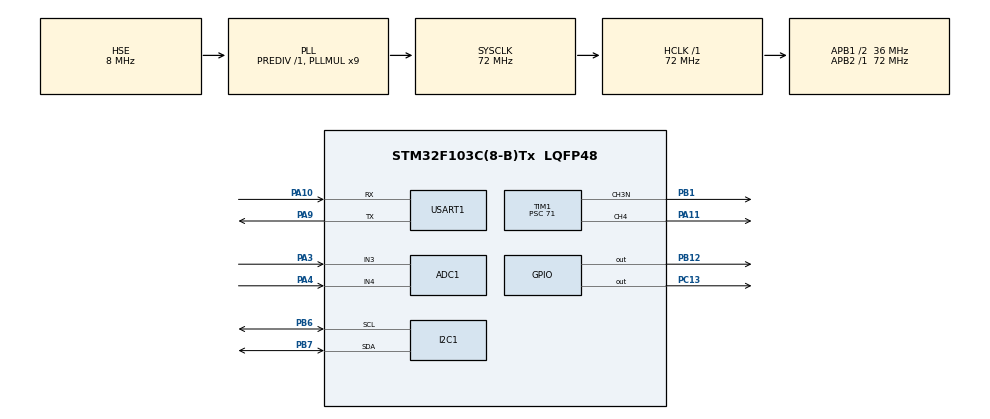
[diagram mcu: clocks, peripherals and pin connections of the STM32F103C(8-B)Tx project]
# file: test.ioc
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ADC1.Channel-0\#ChannelRegularConversion=ADC_CHANNEL_3
ADC1.Channel-1\#ChannelRegularConversion=ADC_CHANNEL_4
ADC1.NbrOfConversion=2
ADC1.NbrOfConversionFlag=1
ADC1.Rank-0\#ChannelRegularConversion=1
ADC1.Rank-1\#ChannelRegularConversion=2
ADC1.SamplingTime-0\#ChannelRegularConversion=ADC_SAMPLETIME_71CYCLES_5
ADC1.SamplingTime-1\#ChannelRegularConversion=ADC_SAMPLETIME_71CYCLES_5
ADC1.master=1
Dma.ADC1.0.Direction=DMA_PERIPH_TO_MEMORY
Dma.ADC1.0.Instance=DMA1_Channel1
Dma.ADC1.0.MemDataAlignment=DMA_MDATAALIGN_HALFWORD
Dma.ADC1.0.MemInc=DMA_MINC_ENABLE
Dma.ADC1.0.Mode=DMA_CIRCULAR
Dma.ADC1.0.PeriphDataAlignment=DMA_PDATAALIGN_HALFWORD
Dma.ADC1.0.PeriphInc=DMA_PINC_DISABLE
Dma.ADC1.0.Priority=DMA_PRIORITY_LOW
Dma.Request0=ADC1
Mcu.Family=STM32F1
Mcu.Name=STM32F103C(8-B)Tx
Mcu.Package=LQFP48
NVIC.DMA1_Channel1_IRQn=true\:0\:0\:false\:false\:true\:false\:true\:true
NVIC.PriorityGroup=NVIC_PRIORITYGROUP_4
PA10.Mode=Asynchronous
PA10.Signal=USART1_RX
PA11.Signal=S_TIM1_CH4
PA13.Mode=Serial_Wire
PA13.Signal=SYS_JTMS-SWDIO
PA14.Mode=Serial_Wire
PA14.Signal=SYS_JTCK-SWCLK
PA3.Signal=ADCx_IN3
PA4.Signal=ADCx_IN4
PA9.Mode=Asynchronous
PA9.Signal=USART1_TX
PB1.Mode=PWM Generation3 CH3N
PB1.Signal=TIM1_CH3N
PB12.Signal=GPIO_Output
PB6.Mode=I2C
PB6.Signal=I2C1_SCL
PB7.Mode=I2C
PB7.Signal=I2C1_SDA
PC13-TAMPER-RTC.Signal=GPIO_Output
PD0-OSC_IN.Mode=HSE-External-Oscillator
PD0-OSC_IN.Signal=RCC_OSC_IN
PD1-OSC_OUT.Mode=HSE-External-Oscillator
PD1-OSC_OUT.Signal=RCC_OSC_OUT
ProjectManager.HeapSize=0x200
ProjectManager.StackSize=0x400
ProjectManager.TargetToolchain=MDK-ARM V5.32
RCC.ADCPresc=RCC_ADCPCLK2_DIV6
RCC.AHBFreq_Value=72000000
RCC.APB1CLKDivider=RCC_HCLK_DIV2
RCC.APB1Freq_Value=36000000
RCC.APB1TimFreq_Value=72000000
RCC.APB2Freq_Value=72000000
RCC.APB2TimFreq_Value=72000000
RCC.HCLKFreq_Value=72000000
RCC.PLLMUL=RCC_PLL_MUL9
RCC.PLLSourceVirtual=RCC_PLLSOURCE_HSE
RCC.SYSCLKFreq_VALUE=72000000
RCC.SYSCLKSource=RCC_SYSCLKSOURCE_PLLCLK
RCC.USBFreq_Value=72000000
SH.ADCx_IN3.0=ADC1_IN3,IN3
SH.ADCx_IN4.0=ADC1_IN4,IN4
SH.S_TIM1_CH4.0=TIM1_CH4,PWM Generation4 CH4
TIM1.Channel-PWM\ Generation3\ CH3N=TIM_CHANNEL_3
TIM1.Channel-PWM\ Generation4\ CH4=TIM_CHANNEL_4
TIM1.Prescaler=71
USART1.VirtualMode=VM_ASYNC
VP_TIM1_VS_ClockSourceINT.Mode=Internal
board=custom

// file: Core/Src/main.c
/* USER CODE BEGIN Header */
/**
  ******************************************************************************
  * @file           : main.c
  * @brief          : Main program body
  ******************************************************************************
  * @attention
  *
  * Copyright (c) 2023 STMicroelectronics.
  * All rights reserved.
  *
  * This software is licensed under terms that can be found in the LICENSE file
  * in the root directory of this software component.
  * If no LICENSE file comes with this software, it is provided AS-IS.
  *
  ******************************************************************************
  */
/* USER CODE END Header */
#include "main.h"

/* USER CODE BEGIN Includes */
//#include "I2C_Configure.h"
#include "LiquidCrystal_I2C.h"
#include <stdio.h>
#include "dht.h"
#include "UART_Configure.h"
/* USER CODE END Includes */

/* USER CODE BEGIN PTD */
int __io_putchar(int ch) {
    UART_SendData((char*)&ch);
    return ch;
}

uint16_t ADC_value[2];
DHT dht;
uint8_t count;
/* USER CODE END PTD */

/* USER CODE BEGIN PD */
void LCD_Display(void);
void ADC_ReadAndControlPWM(void);
/* USER CODE END PD */

ADC_HandleTypeDef hadc1;
DMA_HandleTypeDef hdma_adc1;

I2C_HandleTypeDef hi2c1;

TIM_HandleTypeDef htim1;

UART_HandleTypeDef huart1;

/* USER CODE BEGIN PV */

LiquidCrystal_I2C lcd;
/* USER CODE END PV */

void SystemClock_Config(void);
static void MX_GPIO_Init(void);
static void MX_DMA_Init(void);
static void MX_ADC1_Init(void);
static void MX_TIM1_Init(void);
static void MX_USART1_UART_Init(void);
static void MX_I2C1_Init(void);

int main(void)
{

  /* MCU Configuration--------------------------------------------------------*/

  /* Reset of all peripherals, Initializes the Flash interface and the Systick. */
  HAL_Init();

  /* Configure the system clock */
  SystemClock_Config();

  /* Initialize all configured peripherals */
  MX_GPIO_Init();
  MX_DMA_Init();
  MX_ADC1_Init();
  MX_TIM1_Init();
  MX_USART1_UART_Init();
  MX_I2C1_Init();
  /* USER CODE BEGIN 2 */
  TIM2_Configure(71, 0xFFFF);
  HAL_TIM_PWM_Start(&htim2, TIM_CHANNEL_2);
  HAL_TIM_PWM_Start(&htim2, TIM_CHANNEL_3);
  lcd_init(&lcd, LCD_ADDR_DEFAULT);
  RCC->APB2ENR |= (1 << 2);
  DHT_Init(&dht, GPIOA, 8);
  HAL_ADC_Start_DMA(&hadc1, (uint32_t*)ADC_value, 2);
  /* USER CODE END 2 */

  /* Infinite loop */
  while (1)
  {

    /* USER CODE BEGIN 3 */
	  DHT22_readData(&dht);
	  printf("Tempurature: %.2f\nHumility: %.2f\n", dht.temperature, dht.humility);
	  ADC_ReadAndControlPWM();
	  LCD_Display();
	  HAL_Delay(3000);
  }
  /* USER CODE END 3 */
}

void SystemClock_Config(void)
{
  RCC_OscInitTypeDef RCC_OscInitStruct = {0};
  RCC_ClkInitTypeDef RCC_ClkInitStruct = {0};
  RCC_PeriphCLKInitTypeDef PeriphClkInit = {0};

  /** Initializes the RCC Oscillators according to the specified parameters
  * in the RCC_OscInitTypeDef structure.
  */
  RCC_OscInitStruct.OscillatorType = RCC_OSCILLATORTYPE_HSE;
  RCC_OscInitStruct.HSEState = RCC_HSE_ON;
  RCC_OscInitStruct.HSEPredivValue = RCC_HSE_PREDIV_DIV1;
  RCC_OscInitStruct.HSIState = RCC_HSI_ON;
  RCC_OscInitStruct.PLL.PLLState = RCC_PLL_ON;
  RCC_OscInitStruct.PLL.PLLSource = RCC_PLLSOURCE_HSE;
  RCC_OscInitStruct.PLL.PLLMUL = RCC_PLL_MUL9;
  if (HAL_RCC_OscConfig(&RCC_OscInitStruct) != HAL_OK)
  {
    Error_Handler();
  }

  /** Initializes the CPU, AHB and APB buses clocks
  */
  RCC_ClkInitStruct.ClockType = RCC_CLOCKTYPE_HCLK|RCC_CLOCKTYPE_SYSCLK
                              |RCC_CLOCKTYPE_PCLK1|RCC_CLOCKTYPE_PCLK2;
  RCC_ClkInitStruct.SYSCLKSource = RCC_SYSCLKSOURCE_PLLCLK;
  RCC_ClkInitStruct.AHBCLKDivider = RCC_SYSCLK_DIV1;
  RCC_ClkInitStruct.APB1CLKDivider = RCC_HCLK_DIV2;
  RCC_ClkInitStruct.APB2CLKDivider = RCC_HCLK_DIV1;

  if (HAL_RCC_ClockConfig(&RCC_ClkInitStruct, FLASH_LATENCY_2) != HAL_OK)
  {
    Error_Handler();
  }
  PeriphClkInit.PeriphClockSelection = RCC_PERIPHCLK_ADC;
  PeriphClkInit.AdcClockSelection = RCC_ADCPCLK2_DIV6;
  if (HAL_RCCEx_PeriphCLKConfig(&PeriphClkInit) != HAL_OK)
  {
    Error_Handler();
  }
}

static void MX_ADC1_Init(void)
{

  ADC_ChannelConfTypeDef sConfig = {0};

  /** Common config
  */
  hadc1.Instance = ADC1;
  hadc1.Init.ScanConvMode = ADC_SCAN_ENABLE;
  hadc1.Init.ContinuousConvMode = DISABLE;
  hadc1.Init.DiscontinuousConvMode = DISABLE;
  hadc1.Init.ExternalTrigConv = ADC_SOFTWARE_START;
  hadc1.Init.DataAlign = ADC_DATAALIGN_RIGHT;
  hadc1.Init.NbrOfConversion = 2;
  if (HAL_ADC_Init(&hadc1) != HAL_OK)
  {
    Error_Handler();
  }

  /** Configure Regular Channel
  */
  sConfig.Channel = ADC_CHANNEL_3;
  sConfig.Rank = ADC_REGULAR_RANK_1;
  sConfig.SamplingTime = ADC_SAMPLETIME_71CYCLES_5;
  if (HAL_ADC_ConfigChannel(&hadc1, &sConfig) != HAL_OK)
  {
    Error_Handler();
  }

  /** Configure Regular Channel
  */
  sConfig.Channel = ADC_CHANNEL_4;
  sConfig.Rank = ADC_REGULAR_RANK_2;
  if (HAL_ADC_ConfigChannel(&hadc1, &sConfig) != HAL_OK)
  {
    Error_Handler();
  }

}

static void MX_I2C1_Init(void)
{

  hi2c1.Instance = I2C1;
  hi2c1.Init.ClockSpeed = 100000;
  hi2c1.Init.DutyCycle = I2C_DUTYCYCLE_2;
  hi2c1.Init.OwnAddress1 = 0;
  hi2c1.Init.AddressingMode = I2C_ADDRESSINGMODE_7BIT;
  hi2c1.Init.DualAddressMode = I2C_DUALADDRESS_DISABLE;
  hi2c1.Init.OwnAddress2 = 0;
  hi2c1.Init.GeneralCallMode = I2C_GENERALCALL_DISABLE;
  hi2c1.Init.NoStretchMode = I2C_NOSTRETCH_DISABLE;
  if (HAL_I2C_Init(&hi2c1) != HAL_OK)
  {
    Error_Handler();
  }

}

static void MX_TIM1_Init(void)
{

  TIM_ClockConfigTypeDef sClockSourceConfig = {0};
  TIM_MasterConfigTypeDef sMasterConfig = {0};
  TIM_OC_InitTypeDef sConfigOC = {0};
  TIM_BreakDeadTimeConfigTypeDef sBreakDeadTimeConfig = {0};

  htim1.Instance = TIM1;
  htim1.Init.Prescaler = 71;
  htim1.Init.CounterMode = TIM_COUNTERMODE_UP;
  htim1.Init.Period = 65535;
  htim1.Init.ClockDivision = TIM_CLOCKDIVISION_DIV1;
  htim1.Init.RepetitionCounter = 0;
  htim1.Init.AutoReloadPreload = TIM_AUTORELOAD_PRELOAD_DISABLE;
  if (HAL_TIM_Base_Init(&htim1) != HAL_OK)
  {
    Error_Handler();
  }
  sClockSourceConfig.ClockSource = TIM_CLOCKSOURCE_INTERNAL;
  if (HAL_TIM_ConfigClockSource(&htim1, &sClockSourceConfig) != HAL_OK)
  {
    Error_Handler();
  }
  if (HAL_TIM_PWM_Init(&htim1) != HAL_OK)
  {
    Error_Handler();
  }
  sMasterConfig.MasterOutputTrigger = TIM_TRGO_RESET;
  sMasterConfig.MasterSlaveMode = TIM_MASTERSLAVEMODE_DISABLE;
  if (HAL_TIMEx_MasterConfigSynchronization(&htim1, &sMasterConfig) != HAL_OK)
  {
    Error_Handler();
  }
  sConfigOC.OCMode = TIM_OCMODE_PWM1;
  sConfigOC.Pulse = 0;
  sConfigOC.OCPolarity = TIM_OCPOLARITY_HIGH;
  sConfigOC.OCNPolarity = TIM_OCNPOLARITY_HIGH;
  sConfigOC.OCFastMode = TIM_OCFAST_DISABLE;
  sConfigOC.OCIdleState = TIM_OCIDLESTATE_RESET;
  sConfigOC.OCNIdleState = TIM_OCNIDLESTATE_RESET;
  if (HAL_TIM_PWM_ConfigChannel(&htim1, &sConfigOC, TIM_CHANNEL_3) != HAL_OK)
  {
    Error_Handler();
  }
  if (HAL_TIM_PWM_ConfigChannel(&htim1, &sConfigOC, TIM_CHANNEL_4) != HAL_OK)
  {
    Error_Handler();
  }
  sBreakDeadTimeConfig.OffStateRunMode = TIM_OSSR_DISABLE;
  sBreakDeadTimeConfig.OffStateIDLEMode = TIM_OSSI_DISABLE;
  sBreakDeadTimeConfig.LockLevel = TIM_LOCKLEVEL_OFF;
  sBreakDeadTimeConfig.DeadTime = 0;
  sBreakDeadTimeConfig.BreakState = TIM_BREAK_DISABLE;
  sBreakDeadTimeConfig.BreakPolarity = TIM_BREAKPOLARITY_HIGH;
  sBreakDeadTimeConfig.AutomaticOutput = TIM_AUTOMATICOUTPUT_DISABLE;
  if (HAL_TIMEx_ConfigBreakDeadTime(&htim1, &sBreakDeadTimeConfig) != HAL_OK)
  {
    Error_Handler();
  }
  HAL_TIM_MspPostInit(&htim1);

}

static void MX_USART1_UART_Init(void)
{

  huart1.Instance = USART1;
  huart1.Init.BaudRate = 115200;
  huart1.Init.WordLength = UART_WORDLENGTH_8B;
  huart1.Init.StopBits = UART_STOPBITS_1;
  huart1.Init.Parity = UART_PARITY_NONE;
  huart1.Init.Mode = UART_MODE_TX_RX;
  huart1.Init.HwFlowCtl = UART_HWCONTROL_NONE;
  huart1.Init.OverSampling = UART_OVERSAMPLING_16;
  if (HAL_UART_Init(&huart1) != HAL_OK)
  {
    Error_Handler();
  }

}

static void MX_DMA_Init(void)
{

  /* DMA controller clock enable */
  __HAL_RCC_DMA1_CLK_ENABLE();

  /* DMA interrupt init */
  /* DMA1_Channel1_IRQn interrupt configuration */
  HAL_NVIC_SetPriority(DMA1_Channel1_IRQn, 0, 0);
  HAL_NVIC_EnableIRQ(DMA1_Channel1_IRQn);

}

static void MX_GPIO_Init(void)
{
  GPIO_InitTypeDef GPIO_InitStruct = {0};

  /* GPIO Ports Clock Enable */
  __HAL_RCC_GPIOC_CLK_ENABLE();
  __HAL_RCC_GPIOD_CLK_ENABLE();
  __HAL_RCC_GPIOA_CLK_ENABLE();
  __HAL_RCC_GPIOB_CLK_ENABLE();

  /*Configure GPIO pin Output Level */
  HAL_GPIO_WritePin(GPIOC, GPIO_PIN_13, GPIO_PIN_RESET);

  /*Configure GPIO pin Output Level */
  HAL_GPIO_WritePin(GPIOB, GPIO_PIN_12, GPIO_PIN_RESET);

  /*Configure GPIO pin : PC13 */
  GPIO_InitStruct.Pin = GPIO_PIN_13;
  GPIO_InitStruct.Mode = GPIO_MODE_OUTPUT_PP;
  GPIO_InitStruct.Pull = GPIO_NOPULL;
  GPIO_InitStruct.Speed = GPIO_SPEED_FREQ_LOW;
  HAL_GPIO_Init(GPIOC, &GPIO_InitStruct);

  /*Configure GPIO pin : PB12 */
  GPIO_InitStruct.Pin = GPIO_PIN_12;
  GPIO_InitStruct.Mode = GPIO_MODE_OUTPUT_PP;
  GPIO_InitStruct.Pull = GPIO_NOPULL;
  GPIO_InitStruct.Speed = GPIO_SPEED_FREQ_LOW;
  HAL_GPIO_Init(GPIOB, &GPIO_InitStruct);

}

void Error_Handler(void)
{
  __disable_irq();
  while (1)
  {
  }
}
